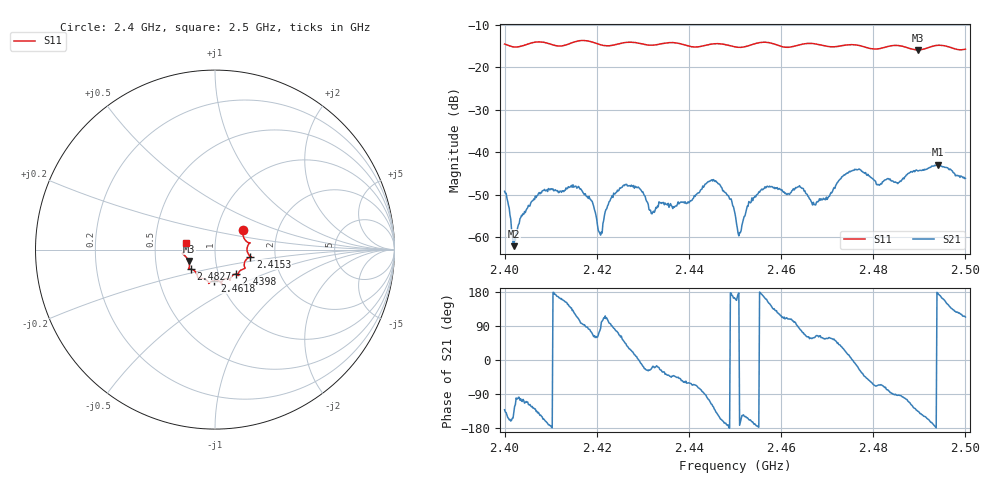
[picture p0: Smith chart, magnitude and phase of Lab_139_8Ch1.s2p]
# Hz S RI R 50
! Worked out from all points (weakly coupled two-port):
!   601 points, 2.4 GHz to 2.5 GHz, reference 50 ohm
!   highest |S21| = -42.91 dB at 2.494 GHz (marker M1); lowest = -62.1 dB at 2.402 GHz (marker M2)
!   lowest |S11| = -15.9 dB at 2.4897 GHz (marker M3), VSWR 1.38, Z = 36.9 - j4.84 ohm
!   |S11| at or under -10 dB: start of sweep to end of sweep
!   S12 and S22 are empty: the file has one direction only
!   S11 on the Smith chart (normalised r, x): 2.4 GHz: 1.33, +0.29; 2.4153 GHz: 1.48, -0.12; 2.4398 GHz: 1.21, -0.34; 2.4618 GHz: 0.94, -0.33; 2.4827 GHz: 0.75, -0.17; 2.5 GHz: 0.72, +0.06
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2.4e9  0.1553 0.1066  -0.0023 -0.00262  0 0  0 0
2.402e9  0.1576 0.074  -0.000595 -0.000516  0 0  0 0
2.407833e9  0.1955 0.038  -0.00278 -0.0019  0 0  0 0
2.415333e9  0.197 -0.0391  -0.00202 0.00345  0 0  0 0
2.416667e9  0.2026 -0.0432  -0.000437 0.00359  0 0  0 0
2.420667e9  0.1787 -0.0503  0.000244 0.00109  0 0  0 0
2.422833e9  0.1638 -0.0745  -0.000306 0.00265  0 0  0 0
2.426e9  0.167 -0.1017  0.00274 0.00299  0 0  0 0
2.433333e9  0.1299 -0.1339  0.00216 -0.00074  0 0  0 0
2.439833e9  0.1155 -0.1361  0.0013 -0.00228  0 0  0 0
2.445333e9  0.0838 -0.1698  -0.00267 -0.00397  0 0  0 0
2.45e9  0.0653 -0.1619  -0.00181 0.000575  0 0  0 0
2.451e9  0.0542 -0.1631  -0.00113 -0.000151  0 0  0 0
2.456e9  0.0385 -0.1938  -0.00358 0.000603  0 0  0 0
2.461833e9  -0.00322 -0.1731  -0.00101 0.00304  0 0  0 0
2.466667e9  -0.0348 -0.1881  0.00141 0.00213  0 0  0 0
2.475833e9  -0.095 -0.1583  0.00611 -0.000649  0 0  0 0
2.482667e9  -0.1348 -0.1087  0.00148 -0.00453  0 0  0 0
2.483333e9  -0.1399 -0.1083  0.000736 -0.00483  0 0  0 0
2.489667e9  -0.1469 -0.0639  -0.0043 -0.00427  0 0  0 0
2.494e9  -0.1805 -0.0226  -0.00714 0.00041  0 0  0 0
2.5e9  -0.1593 0.0385  -0.00196 0.00454  0 0  0 0
